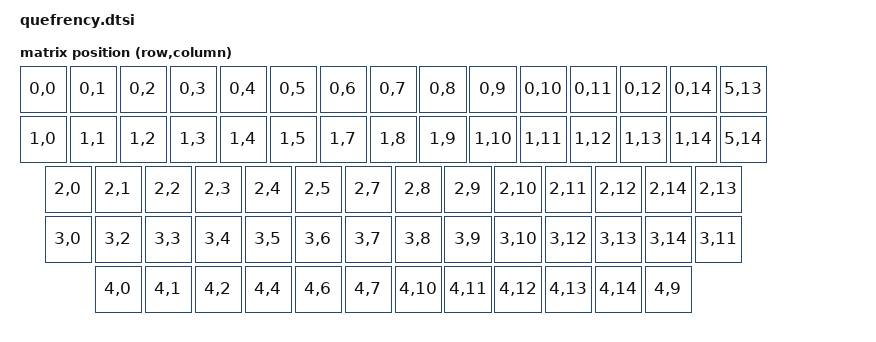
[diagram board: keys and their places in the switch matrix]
/*
 * Copyright (c) 2020 The ZMK Contributors
 *
 * SPDX-License-Identifier: MIT
 */

#include <dt-bindings/zmk/matrix_transform.h>

/ {
	chosen {
	    zmk,kscan = &kscan0;

	    zmk,matrix_transform = &default_transform;
	};

	/* 
	 * This transform correspondsto the 60% left without macro keypad and 65% right, even this
	 * combination of PCBs can have keys in different locations based on configuration.
	 */
	default_transform: keymap_transform_0 {
		compatible = "zmk,matrix-transform";
		columns = <15>;
		rows = <6>;
		map = <
RC(0,0) RC(0,1) RC(0,2) RC(0,3) RC(0,4) RC(0,5) RC(0,6)   /**/ RC(0,7) RC(0,8) RC(0,9) RC(0,10) RC(0,11) RC(0,12)   RC(0,14)     RC(5,13)     
RC(1,0)     RC(1,1) RC(1,2) RC(1,3) RC(1,4) RC(1,5)       /**/RC(1,7) RC(1,8) RC(1,9) RC(1,10) RC(1,11) RC(1,12) RC(1,13)   RC(1,14)  RC(5,14)
RC(2,0)       RC(2,1) RC(2,2) RC(2,3) RC(2,4) RC(2,5)     /**/ RC(2,7) RC(2,8) RC(2,9) RC(2,10) RC(2,11) RC(2,12)     RC(2,14)       RC(2,13) 
RC(3,0)          RC(3,2) RC(3,3) RC(3,4) RC(3,5) RC(3,6)  /**/   RC(3,7) RC(3,8) RC(3,9) RC(3,10) RC(3,12)     RC(3,13)     RC(3,14) RC(3,11) 
RC(4,0)  RC(4,1)  RC(4,2)         RC(4,4)         RC(4,6) /**/   RC(4,7)                 RC(4,10) RC(4,11) RC(4,12) RC(4,13) RC(4,14) RC(4,9) 
		>;
	};
};
